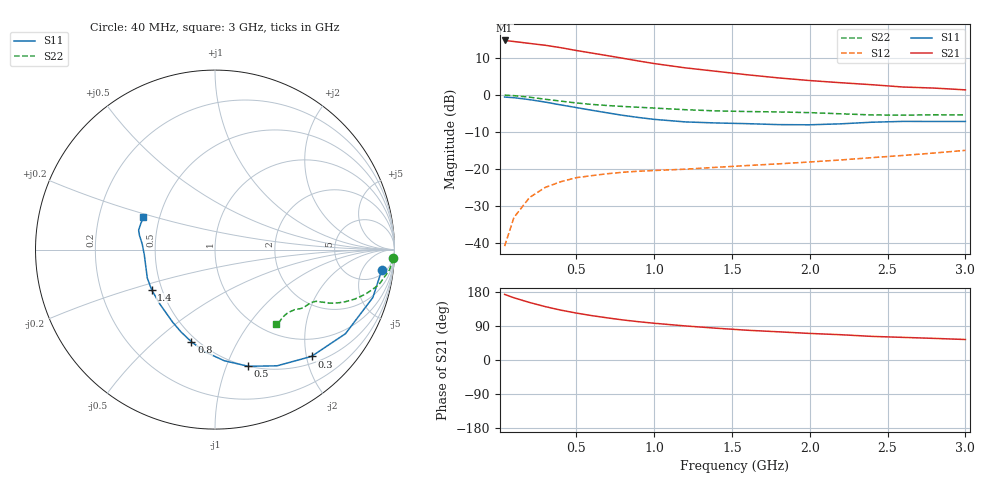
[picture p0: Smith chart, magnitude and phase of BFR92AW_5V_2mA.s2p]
! Filename:  BFR92AWA.S2P  Version:  4.0
! Philips part #: BFR92AW  Date: Jun 1994
! Bias condition: Vce=5V, Ic=2mA
#  MHz  S  MA  R  50
! Freq  S11  S21  S12  S22  !GUM [dB]
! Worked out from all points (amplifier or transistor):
!   21 points, 40 MHz to 3 GHz, reference 50 ohm
!   highest |S21| = 14.8 dB at 40 MHz (marker M1)
!   |S21| within 3 dB of that: start of sweep to 541.3 MHz
!   unconditionally stable (mu >= 1): 1.167 GHz to end of sweep
!   at 300 MHz: K = 0.32, MSG = 19.2 dB, |S12| = -25.0 dB
!   at 1 GHz: K = 0.87, MSG = 14.5 dB, |S12| = -20.4 dB
!   at 3 GHz: K = 1.27, MAG = 5.1 dB, |S12| = -15.0 dB
!   S11 on the Smith chart (normalised r, x): 40 MHz: 7, -13; 300 MHz: 0.63, -2.10; 500 MHz: 0.50, -1.20; 800 MHz: 0.47, -0.66; 1.4 GHz: 0.44, -0.24; 3 GHz: 0.41, +0.18
40  0.937 -6.8  5.465 173.1  0.009 85.5  0.995 -2.7
100  0.919 -16.9  5.29 164.2  0.022 78.6  0.979 -6.6
200  0.865 -32.8  4.984 151.8  0.041 69.5  0.933 -12.2
300  0.802 -47.9  4.707 141.0  0.056 61.8  0.876 -16.4
400  0.734 -61.9  4.367 131.7  0.067 56.6  0.826 -19.5
500  0.676 -74.1  3.999 123.9  0.076 53.0  0.78 -21.9
600  0.621 -85.3  3.691 117.1  0.081 50.9  0.745 -23.5
700  0.573 -95.4  3.406 111.2  0.086 49.6  0.72 -24.5
800  0.53 -104.4  3.138 105.7  0.09 49.0  0.699 -25.2
900  0.496 -112.5  2.883 101.1  0.093 48.7  0.682 -25.6
1000  0.468 -120.3  2.663 97.0  0.095 49.0  0.665 -26.1
1200  0.432 -135.3  2.328 89.9  0.099 50.3  0.632 -27.1
1400  0.418 -147.7  2.09 83.9  0.105 52.5  0.609 -29.1
1600  0.409 -157.3  1.875 78.5  0.111 55.3  0.597 -31.6
1800  0.397 -166.1  1.701 74.4  0.117 59.0  0.589 -33.4
2000  0.395 -176.0  1.567 70.1  0.124 62.2  0.577 -34.8
2200  0.407 175.5  1.464 66.7  0.132 65.2  0.556 -37.0
2400  0.428 169.4  1.376 62.3  0.142 67.8  0.537 -40.8
2600  0.439 165.7  1.281 59.7  0.152 70.1  0.533 -45.1
2800  0.438 161.2  1.239 57.0  0.164 72.8  0.539 -48.3
3000  0.438 155.5  1.173 54.1  0.178 74.9  0.537 -50.4
